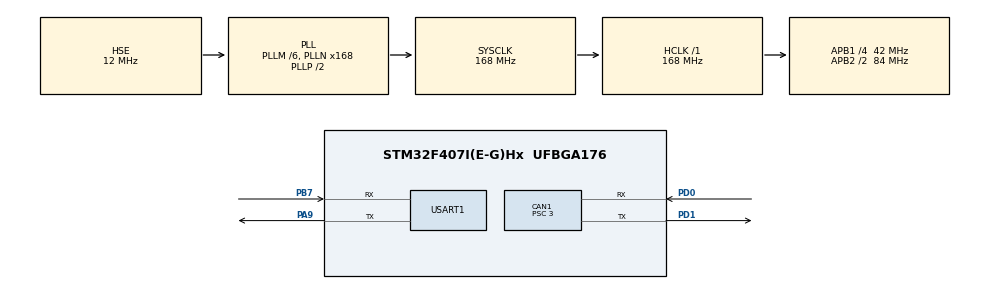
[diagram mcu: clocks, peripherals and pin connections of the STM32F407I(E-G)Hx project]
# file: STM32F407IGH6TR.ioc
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CAN1.BS1=CAN_BS1_10TQ
CAN1.BS2=CAN_BS2_3TQ
CAN1.CalculateBaudRate=1000000
CAN1.CalculateTimeBit=1000
CAN1.CalculateTimeQuantum=71.42857142857143
CAN1.Prescaler=3
Mcu.Family=STM32F4
Mcu.Name=STM32F407I(E-G)Hx
Mcu.Package=UFBGA176
NVIC.CAN1_RX0_IRQn=true\:0\:0\:false\:false\:true\:true\:true\:true
NVIC.PriorityGroup=NVIC_PRIORITYGROUP_4
NVIC.TIM6_DAC_IRQn=true\:0\:0\:false\:false\:true\:true\:true\:true
PA13.Mode=Serial_Wire
PA13.Signal=SYS_JTMS-SWDIO
PA14.Mode=Serial_Wire
PA14.Signal=SYS_JTCK-SWCLK
PA9.Mode=Asynchronous
PA9.Signal=USART1_TX
PB7.Mode=Asynchronous
PB7.Signal=USART1_RX
PD0.Mode=CAN_Activate
PD0.Signal=CAN1_RX
PD1.Mode=CAN_Activate
PD1.Signal=CAN1_TX
PH0-OSC_IN.Mode=HSE-External-Oscillator
PH0-OSC_IN.Signal=RCC_OSC_IN
PH1-OSC_OUT.Mode=HSE-External-Oscillator
PH1-OSC_OUT.Signal=RCC_OSC_OUT
ProjectManager.HeapSize=0x200
ProjectManager.StackSize=0x400
ProjectManager.TargetToolchain=CMake
RCC.48MHZClocksFreq_Value=84000000
RCC.AHBFreq_Value=168000000
RCC.APB1CLKDivider=RCC_HCLK_DIV4
RCC.APB1Freq_Value=42000000
RCC.APB1TimFreq_Value=84000000
RCC.APB2CLKDivider=RCC_HCLK_DIV2
RCC.APB2Freq_Value=84000000
RCC.APB2TimFreq_Value=168000000
RCC.CortexFreq_Value=168000000
RCC.HCLKFreq_Value=168000000
RCC.HSE_VALUE=12000000
RCC.HSI_VALUE=16000000
RCC.LSE_VALUE=32768
RCC.PLLM=6
RCC.PLLN=168
RCC.PLLSourceVirtual=RCC_PLLSOURCE_HSE
RCC.SYSCLKFreq_VALUE=168000000
RCC.SYSCLKSource=RCC_SYSCLKSOURCE_PLLCLK
RCC.VCOOutputFreq_Value=336000000
TIM6.Period=999
TIM6.Prescaler=83
USART1.VirtualMode=VM_ASYNC
VP_TIM6_VS_ClockSourceINT.Mode=Enable_Timer
board=custom

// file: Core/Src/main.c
/* USER CODE BEGIN Header */
/**
  ******************************************************************************
  * @file           : main.c
  * @brief          : Main program body
  ******************************************************************************
  * @attention
  *
  * Copyright (c) 2026 STMicroelectronics.
  * All rights reserved.
  *
  * This software is licensed under terms that can be found in the LICENSE file
  * in the root directory of this software component.
  * If no LICENSE file comes with this software, it is provided AS-IS.
  *
  ******************************************************************************
  */
/* USER CODE END Header */
#include "main.h"

/* USER CODE BEGIN Includes */
// 电机类（User/dvc_motor.cpp）的 extern "C" 桥接函数
extern void Motor_Init(CAN_HandleTypeDef *hcan, int can_id, int method);
extern void Motor_Set_Target_Omega(float omega);
extern void Motor_TIM_PID_PeriodElapsedCallback(void);
extern void Motor_CAN_RxCpltCallback(uint16_t StdId, uint8_t *data);
/* USER CODE END Includes */

CAN_HandleTypeDef hcan1;

TIM_HandleTypeDef htim6;

UART_HandleTypeDef huart1;

void SystemClock_Config(void);
static void MX_GPIO_Init(void);
static void MX_CAN1_Init(void);
static void MX_USART1_UART_Init(void);
static void MX_TIM6_Init(void);

int main(void)
{

  /* MCU Configuration--------------------------------------------------------*/

  /* Reset of all peripherals, Initializes the Flash interface and the Systick. */
  HAL_Init();

  /* Configure the system clock */
  SystemClock_Config();

  /* Initialize all configured peripherals */
  MX_GPIO_Init();
  MX_CAN1_Init();
  MX_USART1_UART_Init();
  MX_TIM6_Init();
  /* USER CODE BEGIN 2 */
  CAN_FilterTypeDef can_filter = {0};

  can_filter.FilterActivation = CAN_FILTER_ENABLE;
  can_filter.FilterBank = 0;
  can_filter.FilterFIFOAssignment = CAN_FILTER_FIFO0;
  can_filter.FilterScale = CAN_FILTERSCALE_32BIT;
  can_filter.FilterMode = CAN_FILTERMODE_IDMASK;
  can_filter.FilterIdHigh = 0x0000;
  can_filter.FilterIdLow = 0;
  can_filter.FilterMaskIdHigh = 0x0000;
  can_filter.FilterMaskIdLow = 0;

  if (HAL_CAN_ConfigFilter(&hcan1, &can_filter) != HAL_OK)
  {
    Error_Handler();
  }
  HAL_CAN_Start(&hcan1);
  HAL_CAN_ActivateNotification(&hcan1, CAN_IT_RX_FIFO0_MSG_PENDING);

  Motor_Init(&hcan1, 0x201, 1);

  HAL_TIM_Base_Start_IT(&htim6);
  /* USER CODE END 2 */

  /* Infinite loop */
  while (1)
  {

    /* USER CODE BEGIN 3 */
    Motor_Set_Target_Omega(10.0f);
  }
  /* USER CODE END 3 */
}

void SystemClock_Config(void)
{
  RCC_OscInitTypeDef RCC_OscInitStruct = {0};
  RCC_ClkInitTypeDef RCC_ClkInitStruct = {0};

  /** Configure the main internal regulator output voltage
  */
  __HAL_RCC_PWR_CLK_ENABLE();
  __HAL_PWR_VOLTAGESCALING_CONFIG(PWR_REGULATOR_VOLTAGE_SCALE1);

  /** Initializes the RCC Oscillators according to the specified parameters
  * in the RCC_OscInitTypeDef structure.
  */
  RCC_OscInitStruct.OscillatorType = RCC_OSCILLATORTYPE_HSE;
  RCC_OscInitStruct.HSEState = RCC_HSE_ON;
  RCC_OscInitStruct.PLL.PLLState = RCC_PLL_ON;
  RCC_OscInitStruct.PLL.PLLSource = RCC_PLLSOURCE_HSE;
  RCC_OscInitStruct.PLL.PLLM = 6;
  RCC_OscInitStruct.PLL.PLLN = 168;
  RCC_OscInitStruct.PLL.PLLP = RCC_PLLP_DIV2;
  RCC_OscInitStruct.PLL.PLLQ = 4;
  if (HAL_RCC_OscConfig(&RCC_OscInitStruct) != HAL_OK)
  {
    Error_Handler();
  }

  /** Initializes the CPU, AHB and APB buses clocks
  */
  RCC_ClkInitStruct.ClockType = RCC_CLOCKTYPE_HCLK|RCC_CLOCKTYPE_SYSCLK
                              |RCC_CLOCKTYPE_PCLK1|RCC_CLOCKTYPE_PCLK2;
  RCC_ClkInitStruct.SYSCLKSource = RCC_SYSCLKSOURCE_PLLCLK;
  RCC_ClkInitStruct.AHBCLKDivider = RCC_SYSCLK_DIV1;
  RCC_ClkInitStruct.APB1CLKDivider = RCC_HCLK_DIV4;
  RCC_ClkInitStruct.APB2CLKDivider = RCC_HCLK_DIV2;

  if (HAL_RCC_ClockConfig(&RCC_ClkInitStruct, FLASH_LATENCY_5) != HAL_OK)
  {
    Error_Handler();
  }
}

static void MX_CAN1_Init(void)
{

  hcan1.Instance = CAN1;
  hcan1.Init.Prescaler = 3;
  hcan1.Init.Mode = CAN_MODE_NORMAL;
  hcan1.Init.SyncJumpWidth = CAN_SJW_1TQ;
  hcan1.Init.TimeSeg1 = CAN_BS1_10TQ;
  hcan1.Init.TimeSeg2 = CAN_BS2_3TQ;
  hcan1.Init.TimeTriggeredMode = DISABLE;
  hcan1.Init.AutoBusOff = DISABLE;
  hcan1.Init.AutoWakeUp = DISABLE;
  hcan1.Init.AutoRetransmission = DISABLE;
  hcan1.Init.ReceiveFifoLocked = DISABLE;
  hcan1.Init.TransmitFifoPriority = DISABLE;
  if (HAL_CAN_Init(&hcan1) != HAL_OK)
  {
    Error_Handler();
  }

}

static void MX_TIM6_Init(void)
{

  TIM_MasterConfigTypeDef sMasterConfig = {0};

  htim6.Instance = TIM6;
  htim6.Init.Prescaler = 83;
  htim6.Init.CounterMode = TIM_COUNTERMODE_UP;
  htim6.Init.Period = 999;
  htim6.Init.AutoReloadPreload = TIM_AUTORELOAD_PRELOAD_DISABLE;
  if (HAL_TIM_Base_Init(&htim6) != HAL_OK)
  {
    Error_Handler();
  }
  sMasterConfig.MasterOutputTrigger = TIM_TRGO_RESET;
  sMasterConfig.MasterSlaveMode = TIM_MASTERSLAVEMODE_DISABLE;
  if (HAL_TIMEx_MasterConfigSynchronization(&htim6, &sMasterConfig) != HAL_OK)
  {
    Error_Handler();
  }

}

static void MX_USART1_UART_Init(void)
{

  huart1.Instance = USART1;
  huart1.Init.BaudRate = 115200;
  huart1.Init.WordLength = UART_WORDLENGTH_8B;
  huart1.Init.StopBits = UART_STOPBITS_1;
  huart1.Init.Parity = UART_PARITY_NONE;
  huart1.Init.Mode = UART_MODE_TX_RX;
  huart1.Init.HwFlowCtl = UART_HWCONTROL_NONE;
  huart1.Init.OverSampling = UART_OVERSAMPLING_16;
  if (HAL_UART_Init(&huart1) != HAL_OK)
  {
    Error_Handler();
  }

}

static void MX_GPIO_Init(void)
{

  /* GPIO Ports Clock Enable */
  __HAL_RCC_GPIOA_CLK_ENABLE();
  __HAL_RCC_GPIOB_CLK_ENABLE();
  __HAL_RCC_GPIOD_CLK_ENABLE();
  __HAL_RCC_GPIOH_CLK_ENABLE();

}

/* USER CODE BEGIN 4 */

void HAL_TIM_PeriodElapsedCallback(TIM_HandleTypeDef *htim)
{
    if (htim->Instance == TIM6) {
        Motor_TIM_PID_PeriodElapsedCallback();
    }
}

void HAL_CAN_RxFifo0MsgPendingCallback(CAN_HandleTypeDef *hcan)
{
    CAN_RxHeaderTypeDef rx_header;
    uint8_t rx_data[8];

    if (HAL_CAN_GetRxMessage(hcan, CAN_RX_FIFO0, &rx_header, rx_data) != HAL_OK)
    {
        return;
    }
    Motor_CAN_RxCpltCallback(rx_header.StdId, rx_data);
}

/* USER CODE END 4 */

void Error_Handler(void)
{
  __disable_irq();
  while (1)
  {
  }
}
